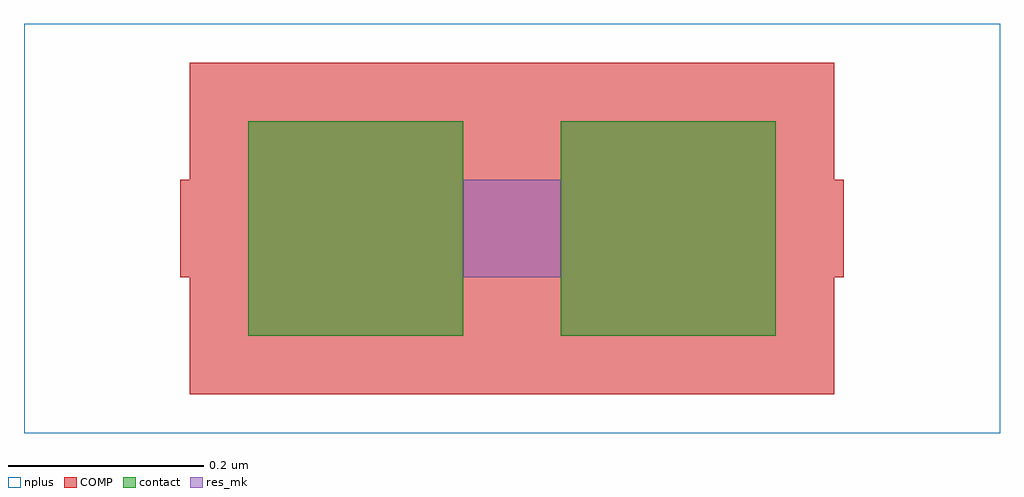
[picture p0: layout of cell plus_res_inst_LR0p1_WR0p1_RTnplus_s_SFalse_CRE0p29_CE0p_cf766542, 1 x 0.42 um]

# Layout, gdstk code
import gdstk
lib = gdstk.Library(unit=1e-6, precision=1e-09)
def R(c, l, rs):  # rectangles x0, y0, x1, y1
    for r in rs: c.add(gdstk.rectangle(r[:2], r[2:], *l))
COMP = (22, 0)
nplus = (32, 0)
contact = (33, 0)
res_mk = (110, 5)

rectangle_gdsfactorypcom = lib.new_cell('rectangle_gdsfactorypcomponentspshapesprectangle_S0p1_0_9a16bc71')
R(rectangle_gdsfactorypcom, res_mk, [(0,0,0.1,0.1)])

c_rectangle_gdsfactorypcom = lib.new_cell('rectangle_gdsfactorypcomponentspshapesprectangle_S0p679_5ee39707')
R(c_rectangle_gdsfactorypcom, COMP, [(0,0,0.68,0.1)])

c_rectangle_gdsfactorypcom_ = lib.new_cell('rectangle_gdsfactorypcomponentspshapesprectangle_S0p22__bfea7709')
R(c_rectangle_gdsfactorypcom_, contact, [(0,0,0.22,0.22)])

via_generator_xrm0p29_0p = lib.new_cell('via_generator_XRm0p29_0p07_YR0_0p1_VS0p22_0p22_VLcontac_2a18fe85')
via_generator_xrm0p29_0p.add(gdstk.Reference(c_rectangle_gdsfactorypcom_, (-0.22,-0.06)))

c_rectangle_gdsfactorypcom__ = lib.new_cell('rectangle_gdsfactorypcomponentspshapesprectangle_S0p339_7cf635e5')
R(c_rectangle_gdsfactorypcom__, COMP, [(0,0,0.34,0.34)])

via_stack_xrm0p29_0p07_y = lib.new_cell('via_stack_XRm0p29_0p07_YR0_0p1_ML1_CS0p22_0p22_CE0p07_M_2166a762')
via_stack_xrm0p29_0p07_y.add(gdstk.Reference(via_generator_xrm0p29_0p, (0,0)))
via_stack_xrm0p29_0p07_y.add(gdstk.Reference(c_rectangle_gdsfactorypcom__, (-0.28,-0.12)))

c_rectangle_gdsfactorypcom___ = lib.new_cell('rectangle_gdsfactorypcomponentspshapesprectangle_S1_0p4_cb7af3a5')
R(c_rectangle_gdsfactorypcom___, nplus, [(0,0,1,0.42)])

plus_res_inst_lr0p1_wr0p = lib.new_cell('plus_res_inst_LR0p1_WR0p1_RTnplus_s_SFalse_CRE0p29_CE0p_cf766542')
plus_res_inst_lr0p1_wr0p.add(gdstk.Reference(rectangle_gdsfactorypcom, (0,0)))
plus_res_inst_lr0p1_wr0p.add(gdstk.Reference(c_rectangle_gdsfactorypcom, (-0.29,0)))
r = gdstk.Reference(via_stack_xrm0p29_0p07_y, (0,0)); r.repetition = gdstk.Repetition(2, 1, v1=(0.32,0), v2=(0,0)); plus_res_inst_lr0p1_wr0p.add(r)
plus_res_inst_lr0p1_wr0p.add(gdstk.Reference(c_rectangle_gdsfactorypcom___, (-0.45,-0.16)))

lib.write_gds('plus_res_inst_LR0p1_WR0p1_RTnplus_s_SFalse_CRE0p29_CE0p_cf766542.gds')
